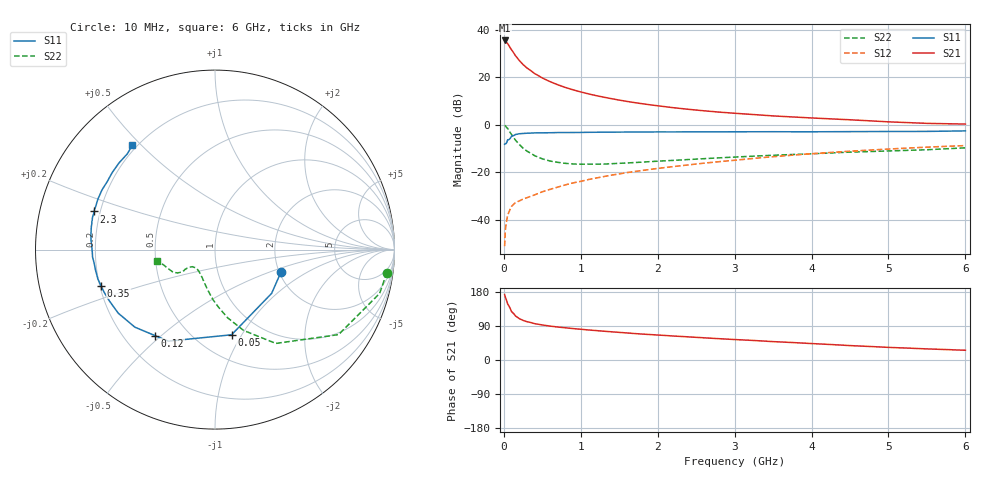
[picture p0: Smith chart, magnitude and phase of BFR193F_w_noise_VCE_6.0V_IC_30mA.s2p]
! Infineon Technologies  Discrete & RF Semiconductors
! BFR193F
! VCE =  6.0 V,  IC =  30 mA
! Common Emitter S-Parameters:  Jan 2017
# GHz  S  MA  R  50
!  f  S11  S21  S12  S22
! GHz  MAG  ANG  MAG  ANG  MAG  ANG  MAG  ANG
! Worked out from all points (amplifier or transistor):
!   77 points, 10 MHz to 6 GHz, reference 50 ohm
!   highest |S21| = 35.4 dB at 10 MHz (marker M1)
!   |S21| within 3 dB of that: start of sweep to 81.56 MHz
!   unconditionally stable (mu >= 1): 1.132 GHz to 2.651 GHz
!   at 130 MHz: K = 0.37, MSG = 31.7 dB, |S12| = -33.4 dB
!   at 2.2 GHz: K = 1.02, MAG = 11.5 dB, |S12| = -17.6 dB
!   at 6 GHz: K = 0.86, MSG = 4.5 dB, |S12| = -8.8 dB
!   lowest NFmin = 1.18 dB at 450 MHz
!   S11 on the Smith chart (normalised r, x): 10 MHz: 2.05, -0.60; 50 MHz: 0.73, -0.90; 120 MHz: 0.33, -0.48; 350 MHz: 0.20, -0.15; 2.3 GHz: 0.18, +0.15; 6 GHz: 0.18, +0.47
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0.01  0.3886 -18.5  58.95 172.9  0.0028 81.7  0.9662 -7.6
0.02  0.3988 -37.7  57.38 165.7  0.0062 81.2  0.9492 -14.9
0.05  0.4835 -79.0  50.58 147.8  0.0125 65.9  0.8358 -34.5
0.1  0.5724 -117.0  37.57 127.7  0.0192 52.6  0.6233 -57.0
0.12  0.5841 -124.9  33.75 124.0  0.0207 51.4  0.5612 -61.6
0.15  0.6213 -135.9  28.37 116.5  0.0229 49.8  0.4769 -70.6
0.2  0.6451 -146.7  22.43 109.3  0.025 48.6  0.3858 -79.6
0.25  0.6544 -154.2  18.38 104.5  0.0274 49.8  0.3201 -86.7
0.3  0.6621 -159.1  15.59 101.1  0.0292 51.6  0.279 -92.3
0.35  0.6663 -162.5  13.72 98.9  0.0313 53.4  0.2505 -96.3
0.4  0.6728 -165.9  11.88 95.9  0.0335 55.0  0.2235 -101.2
0.5  0.6754 -170.3  9.591 92.4  0.0389 58.3  0.1917 -108.3
0.6  0.6777 -173.7  8.044 89.5  0.0437 60.7  0.1724 -114.3
0.8  0.6836 -178.6  6.059 85.0  0.0544 64.5  0.154 -124.1
1.1  0.6921 176.1  4.446 79.3  0.0704 68.2  0.1482 -133.5
1.5  0.6991 170.8  3.29 72.9  0.0924 70.6  0.1544 -140.9
2.1  0.7054 164.3  2.388 64.7  0.126 71.5  0.1745 -145.7
2.3  0.7062 162.5  2.192 62.2  0.1373 71.5  0.1816 -146.1
3.1  0.7104 155.6  1.696 53.0  0.1855 70.6  0.2126 -146.0
4.1  0.7107 146.8  1.362 42.4  0.2514 67.4  0.2487 -148.7
5.1  0.7206 136.8  1.131 32.5  0.3137 62.0  0.284 -158.8
6  0.7415 128.4  1.031 25.7  0.3643 56.9  0.3264 -169.1
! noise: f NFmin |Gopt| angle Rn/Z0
0.45  1.18  0.39  176  0.06
0.9  1.27  0.42  176  0.07
1.9  1.84  0.57  -168  0.07
2.4  2.13  0.61  -159  0.11
